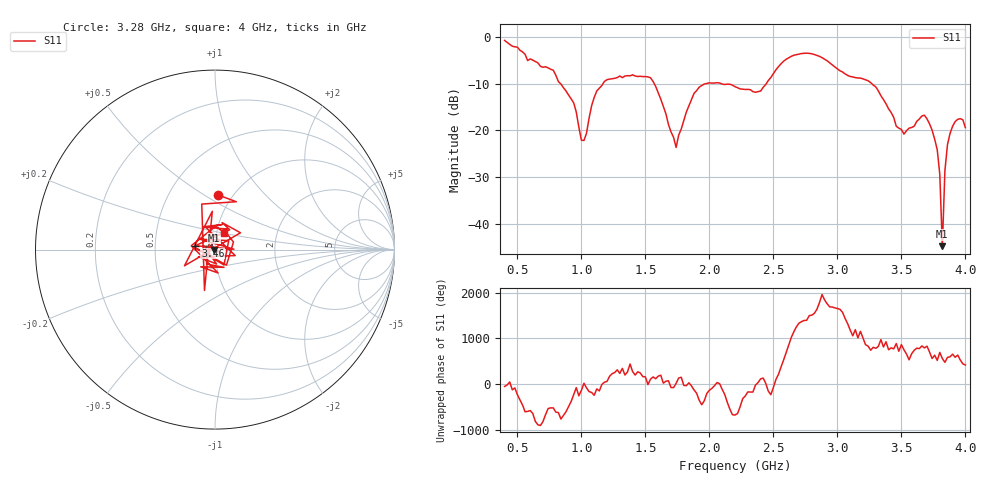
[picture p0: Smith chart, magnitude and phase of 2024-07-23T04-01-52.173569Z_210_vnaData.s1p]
!Created with skrf (http://scikit-rf.org).
# Hz S RI R 50.0
!freq ReS11 ImS11
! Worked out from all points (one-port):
!   181 points, 400 MHz to 4 GHz, reference 50 ohm
!   lowest |S11| = -44.7 dB at 3.82 GHz (marker M1), VSWR 1.01, Z = 49.5 - j0.22 ohm
!   |S11| at or under -10 dB: 1.569 GHz to 1.974 GHz (404.9 MHz wide, 22.9 % of centre); 2.092 GHz to 2.444 GHz (352.4 MHz wide, 15.5 % of centre); 3.268 GHz to end of sweep (the widest 3 of 4)
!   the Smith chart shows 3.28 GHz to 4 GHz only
!   S11 on the Smith chart (normalised r, x): 3.28 GHz: 0.85, +0.57; 3.46 GHz: 0.80, +0.04; 4 GHz: 1.08, +0.21
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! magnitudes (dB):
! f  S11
! 400 MHz  -0.8
! 780 MHz  -7.1
! 860 MHz  -10.9
! 940 MHz  -14.1
! 1 GHz  -22.1
! 1.02 GHz  -22.1
! 1.12 GHz  -11.6
! 1.3 GHz  -8.4
! 1.54 GHz  -8.8
! 1.74 GHz  -23.6
! 1.76 GHz  -21.0
! 1.92 GHz  -10.8
! 2.2 GHz  -10.6
! 2.4 GHz  -11.6
! 2.66 GHz  -3.9
! 2.86 GHz  -4.2
! 3.1 GHz  -8.5
! 3.28 GHz  -10.3
! 3.46 GHz  -19.1
! 3.56 GHz  -19.5
! 3.68 GHz  -16.7
! 3.76 GHz  -21.9
! 3.8 GHz  -29.4
! 3.82 GHz  -44.7
! 3.84 GHz  -28.6
! 3.86 GHz  -23.0
! 3.92 GHz  -18.1
! 4 GHz  -19.4
